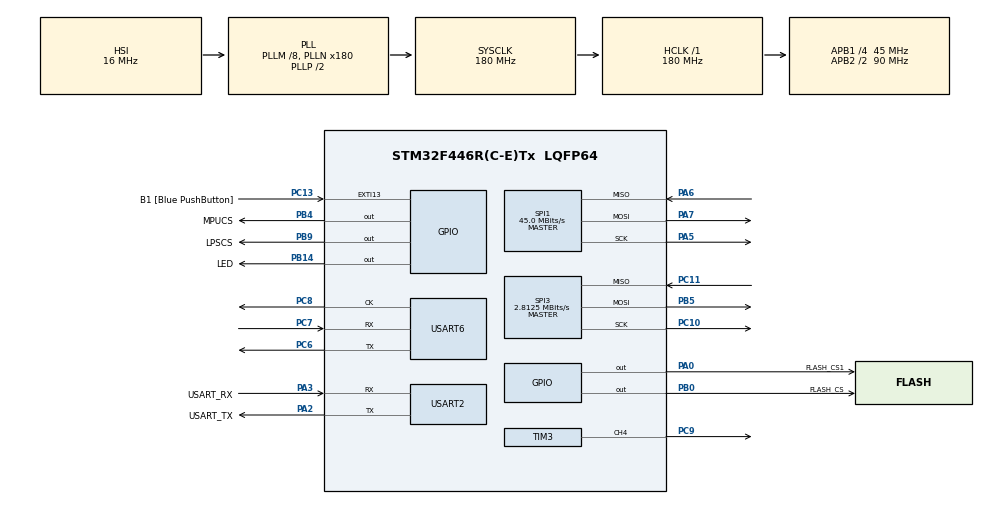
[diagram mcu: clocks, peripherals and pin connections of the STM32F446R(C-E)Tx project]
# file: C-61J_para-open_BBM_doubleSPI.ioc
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Mcu.Family=STM32F4
Mcu.Name=STM32F446R(C-E)Tx
Mcu.Package=LQFP64
NVIC.PriorityGroup=NVIC_PRIORITYGROUP_0
NVIC.TIM1_BRK_TIM9_IRQn=true\:0\:0\:false\:false\:true\:true\:true
NVIC.TIM1_CC_IRQn=true\:0\:0\:false\:false\:true\:true\:true
NVIC.TIM1_TRG_COM_TIM11_IRQn=true\:0\:0\:false\:false\:true\:true\:true
NVIC.TIM1_UP_TIM10_IRQn=true\:0\:0\:false\:false\:true\:true\:true
NVIC.TIM2_IRQn=true\:0\:0\:false\:false\:true\:true\:true
NVIC.TIM3_IRQn=true\:0\:0\:false\:false\:true\:true\:true
PA0-WKUP.GPIO_Label=FLASH_CS1
PA0-WKUP.Signal=GPIO_Output
PA13.GPIO_Label=TMS
PA13.Mode=Serial_Wire
PA13.Signal=SYS_JTMS-SWDIO
PA14.GPIO_Label=TCK
PA14.Mode=Serial_Wire
PA14.Signal=SYS_JTCK-SWCLK
PA2.GPIO_Label=USART_TX
PA2.Mode=Asynchronous
PA2.Signal=USART2_TX
PA3.GPIO_Label=USART_RX
PA3.Mode=Asynchronous
PA3.Signal=USART2_RX
PA5.Mode=Full_Duplex_Master
PA5.Signal=SPI1_SCK
PA6.Mode=Full_Duplex_Master
PA6.Signal=SPI1_MISO
PA7.Mode=Full_Duplex_Master
PA7.Signal=SPI1_MOSI
PB0.GPIO_Label=FLASH_CS
PB0.Signal=GPIO_Output
PB14.GPIO_Label=LED
PB14.Signal=GPIO_Output
PB3.GPIO_Label=SWO
PB3.Signal=SYS_JTDO-SWO
PB4.GPIO_Label=MPUCS
PB4.Signal=GPIO_Output
PB5.Mode=Full_Duplex_Master
PB5.Signal=SPI3_MOSI
PB9.GPIO_Label=LPSCS
PB9.Signal=GPIO_Output
PC10.Mode=Full_Duplex_Master
PC10.Signal=SPI3_SCK
PC11.Mode=Full_Duplex_Master
PC11.Signal=SPI3_MISO
PC13.GPIO_Label=B1 [Blue PushButton]
PC13.GPIO_ModeDefaultEXTI=GPIO_MODE_IT_FALLING
PC13.Signal=GPXTI13
PC14-OSC32_IN.Mode=LSE-External-Oscillator
PC14-OSC32_IN.Signal=RCC_OSC32_IN
PC15-OSC32_OUT.Mode=LSE-External-Oscillator
PC15-OSC32_OUT.Signal=RCC_OSC32_OUT
PC6.Mode=Synchronous
PC6.Signal=USART6_TX
PC7.Mode=Synchronous
PC7.Signal=USART6_RX
PC8.Mode=Synchronous
PC8.Signal=USART6_CK
PC9.Signal=S_TIM3_CH4
PH0-OSC_IN.Mode=HSE-External-Oscillator
PH0-OSC_IN.Signal=RCC_OSC_IN
PH1-OSC_OUT.Mode=HSE-External-Oscillator
PH1-OSC_OUT.Signal=RCC_OSC_OUT
ProjectManager.HeapSize=0x200
ProjectManager.StackSize=0x400
ProjectManager.TargetToolchain=STM32CubeIDE
RCC.48MHZClocksFreq_Value=84000000
RCC.AHBFreq_Value=180000000
RCC.APB1CLKDivider=RCC_HCLK_DIV4
RCC.APB1Freq_Value=45000000
RCC.APB1TimFreq_Value=90000000
RCC.APB2CLKDivider=RCC_HCLK_DIV2
RCC.APB2Freq_Value=90000000
RCC.APB2TimFreq_Value=180000000
RCC.CortexFreq_Value=180000000
RCC.FLatency-AdvancedSettings=FLASH_LATENCY_5
RCC.HCLKFreq_Value=180000000
RCC.HSE_VALUE=8000000
RCC.HSI_VALUE=16000000
RCC.PLLM=8
RCC.PLLN=180
RCC.SYSCLKFreq_VALUE=180000000
RCC.SYSCLKSource=RCC_SYSCLKSOURCE_PLLCLK
RCC.USBFreq_Value=180000000
RCC.VCOOutputFreq_Value=360000000
SH.S_TIM3_CH4.0=TIM3_CH4,PWM Generation4 CH4
SPI1.BaudRatePrescaler=SPI_BAUDRATEPRESCALER_2
SPI1.CalculateBaudRate=45.0 MBits/s
SPI1.Direction=SPI_DIRECTION_2LINES
SPI1.Mode=SPI_MODE_MASTER
SPI1.VirtualType=VM_MASTER
SPI3.BaudRatePrescaler=SPI_BAUDRATEPRESCALER_16
SPI3.CalculateBaudRate=2.8125 MBits/s
SPI3.Direction=SPI_DIRECTION_2LINES
SPI3.Mode=SPI_MODE_MASTER
SPI3.VirtualType=VM_MASTER
TIM1.Period=999
TIM1.Prescaler=1799
TIM2.Period=999
TIM2.Prescaler=89
TIM3.Channel-PWM\ Generation4\ CH4=TIM_CHANNEL_4
TIM3.Period=699
TIM3.Prescaler=3599
USART2.VirtualMode=VM_ASYNC
USART6.VirtualMode=VM_SYNC
VP_TIM1_VS_ClockSourceINT.Mode=Internal
VP_TIM2_VS_ClockSourceINT.Mode=Internal
VP_TIM3_VS_ClockSourceINT.Mode=Internal
board=NUCLEO-F446RE

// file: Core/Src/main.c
/* USER CODE BEGIN Header */
/**
 ******************************************************************************
 * @file           : main.c
 * @brief          : Main program body
 ******************************************************************************
 * @attention
 *
 * <h2><center>&copy; Copyright (c) 2021 STMicroelectronics.
 * All rights reserved.</center></h2>
 *
 * This software component is licensed by ST under BSD 3-Clause license,
 * the "License"; You may not use this file except in compliance with the
 * License. You may obtain a copy of the License at:
 *                        opensource.org/licenses/BSD-3-Clause
 *
 ******************************************************************************
 */
/* USER CODE END Header */
#include "main.h"

/* USER CODE BEGIN Includes */
#include "Sensors_Access_mcat4.h"
#include "uart_mcat2.h"
#include "SPIflash_mcat.h"
#include "math.h"
/* USER CODE END Includes */

/* USER CODE BEGIN PD */
#define ROCKETSTATUS_FLIGHTMODE_ON 0
#define ROCKETSTATUS_LIFTOFFED 1
#define ROCKETSTATUS_PARAOPEND 2
#define ROCKETSTATUS_NOFLIGHTMODE 3

#define MPUDATAFLASH 0
#define LPSDATAFLASH 1
/* USER CODE END PD */

SPI_HandleTypeDef hspi1;
SPI_HandleTypeDef hspi3;

TIM_HandleTypeDef htim1;
TIM_HandleTypeDef htim2;
TIM_HandleTypeDef htim3;

UART_HandleTypeDef huart2;
USART_HandleTypeDef husart6;

void SystemClock_Config(void);
static void MX_GPIO_Init(void);
static void MX_USART2_UART_Init(void);
static void MX_SPI1_Init(void);
static void MX_TIM1_Init(void);
static void MX_TIM2_Init(void);
static void MX_TIM3_Init(void);
static void MX_USART6_Init(void);
static void MX_SPI3_Init(void);

/* USER CODE BEGIN 0 */
uint32_t flag_1kHz = 0;
uint32_t flag_50Hz = 0;
uint32_t clock_1kHz = 0;

//******************LPS Lunch countAccOverTH and Detect Top Variable******************//
double sum_Pressure = 0., ave_Pressure = 0., old_Pressure = 0.;
uint8_t sum_P_counter = 0, over_P_count = 0;
//******************End LPS Lunch countAccOverTH and Detect Top Variable******************//

//******************Timer Setting******************/
void HAL_TIM_PeriodElapsedCallback(TIM_HandleTypeDef *htim)
{
  if (htim->Instance == htim2.Instance)
  {
    flag_1kHz++;
    clock_1kHz++;
  }
  if (htim->Instance == htim1.Instance)
  {
    flag_50Hz++;
  }
}
//******************End Timer Setting******************//

const uint32_t IntervalLaunchAndParaOpen = 11000;
uint8_t rocketStatus = ROCKETSTATUS_NOFLIGHTMODE; // 0~3
uint8_t MPUFlashBuff[256];
uint8_t CountMPUDataSetExistInBuff = 0;
uint8_t LPSFlashBuff[256];
uint8_t CountLPSDataSetExistInBuff = 0;
uint32_t MPUFlashLatestAddress = 0x00, LPSFlashLatestAddress = 0x00;
uint8_t isLaunchDetectedMessageSended = 0;
uint32_t LaunchDetectedTime = 0;
uint8_t LaunchDetectedType = 0;
uint32_t TopDetectedTime = 0;
uint8_t TopDetectedType = 0;

void logingParametersInit()
{
  CountMPUDataSetExistInBuff = 0;
  CountLPSDataSetExistInBuff = 0;
  MPUFlashLatestAddress = 0;
  LPSFlashLatestAddress = 0;
  isLaunchDetectedMessageSended = 0;
  LaunchDetectedTime = 0;
  LaunchDetectedType = 0; // 1...pressure 2...acc
  TopDetectedTime = 0;
  TopDetectedType = 0; // 1...pressure 2...time
}

void paraOpen()
{
  __HAL_TIM_SET_COMPARE(&htim3, TIM_CHANNEL_4, 90);
}

void paraClose()
{
  __HAL_TIM_SET_COMPARE(&htim3, TIM_CHANNEL_4, 45);
}

void paraServoCutoff()
{
	__HAL_TIM_SET_COMPARE(&htim3, TIM_CHANNEL_4, 0);
}

void detectLaunchByPressure(double Pressure_data)
{
  sum_Pressure += Pressure_data;
  sum_P_counter++;
  if (sum_P_counter >= 5)
  {
    old_Pressure = ave_Pressure;
    ave_Pressure = sum_Pressure / sum_P_counter;
    sum_Pressure = 0.;
    sum_P_counter = 0;
    if ((old_Pressure - ave_Pressure) > 0.5)
    { // change true = 10, experiment = 3
      over_P_count++;
    }
    else
    {
      over_P_count = 0;
    }
  }
  if (over_P_count >= 10)
  {
    rocketStatus = ROCKETSTATUS_LIFTOFFED;
    LaunchDetectedTime = clock_1kHz;
    LaunchDetectedType = 1;
    sum_Pressure = 0.;
    old_Pressure = 0.;
    sum_P_counter = 0;
    over_P_count = 0;
    HAL_GPIO_WritePin(LED_GPIO_Port, LED_Pin, SET);
  }
}

void detectTopByPressure(double Pressure_data)
{
  sum_Pressure += Pressure_data;
  sum_P_counter++;
  if (sum_P_counter >= 5)
  {
    old_Pressure = ave_Pressure;
    ave_Pressure = sum_Pressure / sum_P_counter;
    sum_Pressure = 0;
    sum_P_counter = 0;
    if (old_Pressure < ave_Pressure)
    {
      over_P_count++;
    }
    else
    {
      over_P_count = 0;
    }
  }
  if (over_P_count >= 10)
  {
    rocketStatus = ROCKETSTATUS_PARAOPEND;
    TopDetectedTime = clock_1kHz;
    TopDetectedType = 1;
    paraOpen();
    sum_Pressure = 0;
    sum_P_counter = 0;
    over_P_count = 0;
    HAL_GPIO_WritePin(LED_GPIO_Port, LED_Pin, SET);
  }
}
//******************End LPS Pressure Detect Top******************//

/* USER CODE END 0 */

int main(void)
{

  /* MCU Configuration--------------------------------------------------------*/

  /* Reset of all peripherals, Initializes the Flash interface and the Systick. */
  HAL_Init();

  /* Configure the system clock */
  SystemClock_Config();

  /* Initialize all configured peripherals */
  MX_GPIO_Init();
  MX_USART2_UART_Init();
  MX_SPI1_Init();
  MX_TIM1_Init();
  MX_TIM2_Init();
  MX_TIM3_Init();
  MX_USART6_Init();
  MX_SPI3_Init();
  /* USER CODE BEGIN 2 */

  // time setup
  uint32_t milisecondAfterLiftof = 0;

  // average20
  double average[20];
  int avrnum = 0;
  double Avr = 0.0; // average of (average[20])

  // take off countAccOverTH
  double value5[5] = {0.0, 0.0, 0.0, 0.0, 0.0}; // Avr * 5

  int countAccOverTH = 0;

  // MPU setup
  int16_t MPUMoldingData[6];
  uint8_t MPURecievedData[14];
  double ax, ay, az, gx, gy, gz, axyz;

  CS_Set(MPUDATAFLASH);
  CS_Set(LPSDATAFLASH);
  MPU_CS_High();
  LPS_CS_High();

  HAL_Delay(10);

  MPU_Initialization();

  // LPS setup
  double LPS_Pressure = 0;
  uint8_t LPS_data[3];
  LPS_WakeUp();
  uint16_t LPSLogPreScaler = 0;

  // timer setup

  // uart_putln("timer start",2);

  // PWM setup (timer 1)
  HAL_TIM_PWM_Start(&htim3, TIM_CHANNEL_4);
  __HAL_TIM_SET_COMPARE(&htim3, TIM_CHANNEL_4, 45);
  HAL_GPIO_WritePin(LED_GPIO_Port, LED_Pin, RESET);
  /* USER CODE END 2 */

  /* Infinite loop */
  while (1)
  {

    /* USER CODE BEGIN 3 */
    if (USART2->SR & USART_SR_RXNE)
    {
      char rec = uart_receive(2);
      if (rec == 'i')
      {
        if (MPU_WhoAmI() == 113 && LPS_WhoAmI() == 177)
        {
          uart_putln("i", 2);
        }
        else
        {
          uart_putln("o", 2);
        }
      }
      else if (rec == 'l')
      {
        logingParametersInit();
        uart_putln("l", 2);
        milisecondAfterLiftof = 0;
        sum_Pressure = 0;
        sum_P_counter = 0;
        over_P_count = 0;
        rocketStatus = ROCKETSTATUS_FLIGHTMODE_ON;
        HAL_GPIO_WritePin(LED_GPIO_Port, LED_Pin, RESET);
        HAL_TIM_Base_Start_IT(&htim1); // tim2:1kHz
        HAL_TIM_Base_Start_IT(&htim2);
      }
      else if (rec == 's')
      {
        uart_putln("s", 2);
        HAL_TIM_Base_Stop_IT(&htim1); // tim2:1kHz
        HAL_TIM_Base_Stop_IT(&htim2);
        rocketStatus = ROCKETSTATUS_NOFLIGHTMODE;
      }
      else if (rec == 'd')
      {
        flash_wren(MPUDATAFLASH); // allow writing
        flash_be(MPUDATAFLASH);
        while (flash_is_wip(MPUDATAFLASH))
        {
          // uart_puts(".",2);
          HAL_GPIO_WritePin(LED_GPIO_Port, LED_Pin, SET);
          HAL_Delay(100);
          HAL_GPIO_WritePin(LED_GPIO_Port, LED_Pin, RESET);
          HAL_Delay(100);
        }
        HAL_GPIO_WritePin(LED_GPIO_Port, LED_Pin, SET);
        HAL_Delay(1000);
        HAL_GPIO_WritePin(LED_GPIO_Port, LED_Pin, RESET);
        HAL_Delay(100);

        // erase flash 1
        flash_wren(LPSDATAFLASH); // allow writing
        flash_be(LPSDATAFLASH);
        while (flash_is_wip(LPSDATAFLASH))
        {
          // uart_puts(".",2);
          HAL_GPIO_WritePin(LED_GPIO_Port, LED_Pin, SET);
          HAL_Delay(100);
          HAL_GPIO_WritePin(LED_GPIO_Port, LED_Pin, RESET);
          HAL_Delay(100);
        }
        uart_putln("f", 2);
      }
      else if (rec == 'r')
      {
        uart_putln("mpu data read", 2);
        for (int index = 0; index < 65536; index++)
        {
          uint8_t readbf[256];
          flash_read(index * 256, readbf, 256, LPSDATAFLASH);
          data_debug_print(readbf, 256);
        }
        uart_putln("lps data read", 2);
        for (int index = 0; index < 65536; index++)
        {
          uint8_t readbf[256];
          flash_read(index * 256, readbf, 256, MPUDATAFLASH);
          data_debug_print(readbf, 256);
        }
      }
      else if (rec == 'e')
      {
        uart_putln("e", 2);
        paraOpen();
      }
      else if (rec == 'c')
      {
        uart_putln("c", 2);
        paraClose();
        HAL_Delay(2000);
        HAL_GPIO_WritePin(GPIOC, GPIO_PIN_9, RESET);
      }
    }

    if (flag_1kHz > 0)
    { // 1kHz,MPU & flash 0

      LPSLogPreScaler++;
      if (LPSLogPreScaler >= 20)
      {
        // read LPSdata
        LPS_WakeUp();
        LPS_Pressure = (double)LPS_RawandPressure(LPS_data);
        LPS_Pressure = LPS_Pressure * 100. / 4096.;

        // lps
        for (int index = 0; index < 3; index++)
        {
          LPSFlashBuff[16 * CountLPSDataSetExistInBuff + index] = LPS_data[index];
        }
        LPSFlashBuff[16 * CountLPSDataSetExistInBuff + 3] = (LaunchDetectedType << 4) + TopDetectedType;
        // launch detect data
        for (int index = 0; index < 4; index++)
        {
          LPSFlashBuff[16 * CountLPSDataSetExistInBuff + index + 4] = 0xFF & (LaunchDetectedTime >> (8 * index));
        }
        // top detected data
        for (int index = 0; index < 4; index++)
        {
          LPSFlashBuff[16 * CountLPSDataSetExistInBuff + index + 8] = 0xFF & (TopDetectedTime >> (8 * index));
        }
        // time
        for (int index = 0; index < 4; index++)
        {
          LPSFlashBuff[16 * CountLPSDataSetExistInBuff + index + 12] = 0xFF & (clock_1kHz >> (8 * index));
        }
        CountLPSDataSetExistInBuff++;
        if (CountLPSDataSetExistInBuff == 16)
        {
          flash_wren(LPSDATAFLASH);
          flash_pp(LPSFlashLatestAddress, LPSFlashBuff, 0x100, LPSDATAFLASH);
          LPSFlashLatestAddress += 0x100;
          CountLPSDataSetExistInBuff = 0;
        }

        // write LPSdata & time

        if (rocketStatus == ROCKETSTATUS_FLIGHTMODE_ON)
        {
          detectLaunchByPressure(LPS_Pressure);
        }
        else if (rocketStatus == ROCKETSTATUS_LIFTOFFED)
        {
          detectTopByPressure(LPS_Pressure);
        }
        LPSLogPreScaler = 0;
      }
      // MPU countAccOverTH
      MPU_6axis_Raw(MPURecievedData, MPUMoldingData);
      //			uart_puts("\tax:",2);
      //			uart_putint((int)MPUMoldingData[0],2);
      //			uart_puts("\tay:",2);
      //			uart_putint((int)MPUMoldingData[1],2);
      //			uart_puts("\taz:",2);
      //			uart_putintln((int)MPUMoldingData[2],2);

      // make mpu dataset
      for (int index = 0; index < 6; index++)
      {
        MPUFlashBuff[16 * CountMPUDataSetExistInBuff + index] = MPURecievedData[index];
      }
      for (int index = 8; index < 14; index++)
      {
        MPUFlashBuff[16 * CountMPUDataSetExistInBuff + index - 2] = MPURecievedData[index];
      }
      for (int index = 0; index < 4; index++)
      {
        MPUFlashBuff[16 * CountMPUDataSetExistInBuff + index + 12] = 0xFF & (clock_1kHz >> (8 * index));
      }
      CountMPUDataSetExistInBuff++;
      if (CountMPUDataSetExistInBuff == 16)
      {
        flash_wren(MPUDATAFLASH);
        flash_pp(MPUFlashLatestAddress, MPUFlashBuff, 0x100, 0);
        MPUFlashLatestAddress += 0x100;
        CountMPUDataSetExistInBuff = 0;
      }

      ax = (double)MPUMoldingData[0];
      ay = (double)MPUMoldingData[1];
      az = (double)MPUMoldingData[2];
      gx = (double)MPUMoldingData[3];
      gy = (double)MPUMoldingData[4];
      gz = (double)MPUMoldingData[5];

      ax = ax * 16. / 32767.;
      ay = ay * 16. / 32767.;
      az = az * 16. / 32767.;
      gx = gx * 16. / 32767.;
      gy = gy * 16. / 32767.;
      gz = gz * 16. / 32767.;

      axyz = ax * ax + ay * ay + az * az;

      // make average[20] and take off countAccOverTH

      //***********************************MPU Accel lunch**************************************//
      if (avrnum != 20)
      {
        average[avrnum] = axyz;
      }
      else
      {
        for (int a = 0; a < 20; a++)
        {
          Avr += average[a];
        }
        Avr = Avr / 20.0;

        // update value5
        for (int n = 3; n >= 0; n--)
        {
          value5[n + 1] = value5[n];
        }
        value5[0] = Avr;
        if (rocketStatus == ROCKETSTATUS_FLIGHTMODE_ON)
        {
          countAccOverTH = 0;
          for (int m = 0; m < 5; m++)
          {
            if (value5[m] > 4.0)
            {
              countAccOverTH++;
            }
          }
          if (countAccOverTH >= 5)
          { // countAccOverTH = 5 -> take off
            rocketStatus = ROCKETSTATUS_LIFTOFFED;
            LaunchDetectedTime = clock_1kHz;
            LaunchDetectedType = 2; // 1...pressure 2...acc
            HAL_GPIO_WritePin(LED_GPIO_Port, LED_Pin, SET);
          }
        }
        avrnum = 0;
        average[avrnum] = axyz;
      }
      avrnum++;
      //********************************End MPU Accel lunch*****************************************//

      if ((rocketStatus == ROCKETSTATUS_LIFTOFFED) && (milisecondAfterLiftof > IntervalLaunchAndParaOpen))
      {
        if (!isLaunchDetectedMessageSended)
        {
          uart_putc('t', 2);
          isLaunchDetectedMessageSended = 1;
        }
        TopDetectedTime = clock_1kHz;
        TopDetectedType = 2;
        paraOpen();
        rocketStatus = ROCKETSTATUS_PARAOPEND;
      }
      else if (rocketStatus == ROCKETSTATUS_LIFTOFFED)
      {
        milisecondAfterLiftof++;
      }

      if (MPUFlashLatestAddress == 65535)
      {
        HAL_TIM_Base_Stop_IT(&htim1); // tim2:1kHz
        HAL_TIM_Base_Stop_IT(&htim2);
        rocketStatus = ROCKETSTATUS_NOFLIGHTMODE;
      }

      flag_1kHz = 0;
    }
  }
  /* USER CODE END 3 */
}

void SystemClock_Config(void)
{
  RCC_OscInitTypeDef RCC_OscInitStruct = {0};
  RCC_ClkInitTypeDef RCC_ClkInitStruct = {0};

  /** Configure the main internal regulator output voltage
   */
  __HAL_RCC_PWR_CLK_ENABLE();
  __HAL_PWR_VOLTAGESCALING_CONFIG(PWR_REGULATOR_VOLTAGE_SCALE1);
  /** Initializes the RCC Oscillators according to the specified parameters
   * in the RCC_OscInitTypeDef structure.
   */
  RCC_OscInitStruct.OscillatorType = RCC_OSCILLATORTYPE_HSI;
  RCC_OscInitStruct.HSIState = RCC_HSI_ON;
  RCC_OscInitStruct.HSICalibrationValue = RCC_HSICALIBRATION_DEFAULT;
  RCC_OscInitStruct.PLL.PLLState = RCC_PLL_ON;
  RCC_OscInitStruct.PLL.PLLSource = RCC_PLLSOURCE_HSI;
  RCC_OscInitStruct.PLL.PLLM = 8;
  RCC_OscInitStruct.PLL.PLLN = 180;
  RCC_OscInitStruct.PLL.PLLP = RCC_PLLP_DIV2;
  RCC_OscInitStruct.PLL.PLLQ = 2;
  RCC_OscInitStruct.PLL.PLLR = 2;
  if (HAL_RCC_OscConfig(&RCC_OscInitStruct) != HAL_OK)
  {
    Error_Handler();
  }
  /** Activate the Over-Drive mode
   */
  if (HAL_PWREx_EnableOverDrive() != HAL_OK)
  {
    Error_Handler();
  }
  /** Initializes the CPU, AHB and APB buses clocks
   */
  RCC_ClkInitStruct.ClockType = RCC_CLOCKTYPE_HCLK | RCC_CLOCKTYPE_SYSCLK | RCC_CLOCKTYPE_PCLK1 | RCC_CLOCKTYPE_PCLK2;
  RCC_ClkInitStruct.SYSCLKSource = RCC_SYSCLKSOURCE_PLLCLK;
  RCC_ClkInitStruct.AHBCLKDivider = RCC_SYSCLK_DIV1;
  RCC_ClkInitStruct.APB1CLKDivider = RCC_HCLK_DIV4;
  RCC_ClkInitStruct.APB2CLKDivider = RCC_HCLK_DIV2;

  if (HAL_RCC_ClockConfig(&RCC_ClkInitStruct, FLASH_LATENCY_5) != HAL_OK)
  {
    Error_Handler();
  }
}

static void MX_SPI1_Init(void)
{

  /* SPI1 parameter configuration*/
  hspi1.Instance = SPI1;
  hspi1.Init.Mode = SPI_MODE_MASTER;
  hspi1.Init.Direction = SPI_DIRECTION_2LINES;
  hspi1.Init.DataSize = SPI_DATASIZE_8BIT;
  hspi1.Init.CLKPolarity = SPI_POLARITY_LOW;
  hspi1.Init.CLKPhase = SPI_PHASE_1EDGE;
  hspi1.Init.NSS = SPI_NSS_SOFT;
  hspi1.Init.BaudRatePrescaler = SPI_BAUDRATEPRESCALER_2;
  hspi1.Init.FirstBit = SPI_FIRSTBIT_MSB;
  hspi1.Init.TIMode = SPI_TIMODE_DISABLE;
  hspi1.Init.CRCCalculation = SPI_CRCCALCULATION_DISABLE;
  hspi1.Init.CRCPolynomial = 10;
  if (HAL_SPI_Init(&hspi1) != HAL_OK)
  {
    Error_Handler();
  }
}

static void MX_SPI3_Init(void)
{

  /* SPI3 parameter configuration*/
  hspi3.Instance = SPI3;
  hspi3.Init.Mode = SPI_MODE_MASTER;
  hspi3.Init.Direction = SPI_DIRECTION_2LINES;
  hspi3.Init.DataSize = SPI_DATASIZE_8BIT;
  hspi3.Init.CLKPolarity = SPI_POLARITY_LOW;
  hspi3.Init.CLKPhase = SPI_PHASE_1EDGE;
  hspi3.Init.NSS = SPI_NSS_SOFT;
  hspi3.Init.BaudRatePrescaler = SPI_BAUDRATEPRESCALER_16;
  hspi3.Init.FirstBit = SPI_FIRSTBIT_MSB;
  hspi3.Init.TIMode = SPI_TIMODE_DISABLE;
  hspi3.Init.CRCCalculation = SPI_CRCCALCULATION_DISABLE;
  hspi3.Init.CRCPolynomial = 10;
  if (HAL_SPI_Init(&hspi3) != HAL_OK)
  {
    Error_Handler();
  }
}

static void MX_TIM1_Init(void)
{

  TIM_ClockConfigTypeDef sClockSourceConfig = {0};
  TIM_MasterConfigTypeDef sMasterConfig = {0};

  htim1.Instance = TIM1;
  htim1.Init.Prescaler = 1799;
  htim1.Init.CounterMode = TIM_COUNTERMODE_UP;
  htim1.Init.Period = 999;
  htim1.Init.ClockDivision = TIM_CLOCKDIVISION_DIV1;
  htim1.Init.RepetitionCounter = 0;
  htim1.Init.AutoReloadPreload = TIM_AUTORELOAD_PRELOAD_DISABLE;
  if (HAL_TIM_Base_Init(&htim1) != HAL_OK)
  {
    Error_Handler();
  }
  sClockSourceConfig.ClockSource = TIM_CLOCKSOURCE_INTERNAL;
  if (HAL_TIM_ConfigClockSource(&htim1, &sClockSourceConfig) != HAL_OK)
  {
    Error_Handler();
  }
  sMasterConfig.MasterOutputTrigger = TIM_TRGO_RESET;
  sMasterConfig.MasterSlaveMode = TIM_MASTERSLAVEMODE_DISABLE;
  if (HAL_TIMEx_MasterConfigSynchronization(&htim1, &sMasterConfig) != HAL_OK)
  {
    Error_Handler();
  }
}

static void MX_TIM2_Init(void)
{

  TIM_ClockConfigTypeDef sClockSourceConfig = {0};
  TIM_MasterConfigTypeDef sMasterConfig = {0};

  htim2.Instance = TIM2;
  htim2.Init.Prescaler = 89;
  htim2.Init.CounterMode = TIM_COUNTERMODE_UP;
  htim2.Init.Period = 999;
  htim2.Init.ClockDivision = TIM_CLOCKDIVISION_DIV1;
  htim2.Init.AutoReloadPreload = TIM_AUTORELOAD_PRELOAD_DISABLE;
  if (HAL_TIM_Base_Init(&htim2) != HAL_OK)
  {
    Error_Handler();
  }
  sClockSourceConfig.ClockSource = TIM_CLOCKSOURCE_INTERNAL;
  if (HAL_TIM_ConfigClockSource(&htim2, &sClockSourceConfig) != HAL_OK)
  {
    Error_Handler();
  }
  sMasterConfig.MasterOutputTrigger = TIM_TRGO_RESET;
  sMasterConfig.MasterSlaveMode = TIM_MASTERSLAVEMODE_DISABLE;
  if (HAL_TIMEx_MasterConfigSynchronization(&htim2, &sMasterConfig) != HAL_OK)
  {
    Error_Handler();
  }
}

static void MX_TIM3_Init(void)
{

  TIM_ClockConfigTypeDef sClockSourceConfig = {0};
  TIM_MasterConfigTypeDef sMasterConfig = {0};
  TIM_OC_InitTypeDef sConfigOC = {0};

  htim3.Instance = TIM3;
  htim3.Init.Prescaler = 3599;
  htim3.Init.CounterMode = TIM_COUNTERMODE_UP;
  htim3.Init.Period = 699;
  htim3.Init.ClockDivision = TIM_CLOCKDIVISION_DIV1;
  htim3.Init.AutoReloadPreload = TIM_AUTORELOAD_PRELOAD_DISABLE;
  if (HAL_TIM_Base_Init(&htim3) != HAL_OK)
  {
    Error_Handler();
  }
  sClockSourceConfig.ClockSource = TIM_CLOCKSOURCE_INTERNAL;
  if (HAL_TIM_ConfigClockSource(&htim3, &sClockSourceConfig) != HAL_OK)
  {
    Error_Handler();
  }
  if (HAL_TIM_PWM_Init(&htim3) != HAL_OK)
  {
    Error_Handler();
  }
  sMasterConfig.MasterOutputTrigger = TIM_TRGO_RESET;
  sMasterConfig.MasterSlaveMode = TIM_MASTERSLAVEMODE_DISABLE;
  if (HAL_TIMEx_MasterConfigSynchronization(&htim3, &sMasterConfig) != HAL_OK)
  {
    Error_Handler();
  }
  sConfigOC.OCMode = TIM_OCMODE_PWM1;
  sConfigOC.Pulse = 0;
  sConfigOC.OCPolarity = TIM_OCPOLARITY_HIGH;
  sConfigOC.OCFastMode = TIM_OCFAST_DISABLE;
  if (HAL_TIM_PWM_ConfigChannel(&htim3, &sConfigOC, TIM_CHANNEL_4) != HAL_OK)
  {
    Error_Handler();
  }
  HAL_TIM_MspPostInit(&htim3);
}

static void MX_USART2_UART_Init(void)
{

  huart2.Instance = USART2;
  huart2.Init.BaudRate = 115200;
  huart2.Init.WordLength = UART_WORDLENGTH_8B;
  huart2.Init.StopBits = UART_STOPBITS_1;
  huart2.Init.Parity = UART_PARITY_NONE;
  huart2.Init.Mode = UART_MODE_TX_RX;
  huart2.Init.HwFlowCtl = UART_HWCONTROL_NONE;
  huart2.Init.OverSampling = UART_OVERSAMPLING_16;
  if (HAL_UART_Init(&huart2) != HAL_OK)
  {
    Error_Handler();
  }
}

static void MX_USART6_Init(void)
{

  husart6.Instance = USART6;
  husart6.Init.BaudRate = 115200;
  husart6.Init.WordLength = USART_WORDLENGTH_8B;
  husart6.Init.StopBits = USART_STOPBITS_1;
  husart6.Init.Parity = USART_PARITY_NONE;
  husart6.Init.Mode = USART_MODE_TX_RX;
  husart6.Init.CLKPolarity = USART_POLARITY_LOW;
  husart6.Init.CLKPhase = USART_PHASE_1EDGE;
  husart6.Init.CLKLastBit = USART_LASTBIT_DISABLE;
  if (HAL_USART_Init(&husart6) != HAL_OK)
  {
    Error_Handler();
  }
}

static void MX_GPIO_Init(void)
{
  GPIO_InitTypeDef GPIO_InitStruct = {0};

  /* GPIO Ports Clock Enable */
  __HAL_RCC_GPIOC_CLK_ENABLE();
  __HAL_RCC_GPIOH_CLK_ENABLE();
  __HAL_RCC_GPIOA_CLK_ENABLE();
  __HAL_RCC_GPIOB_CLK_ENABLE();

  /*Configure GPIO pin Output Level */
  HAL_GPIO_WritePin(FLASH_CS1_GPIO_Port, FLASH_CS1_Pin, GPIO_PIN_RESET);

  /*Configure GPIO pin Output Level */
  HAL_GPIO_WritePin(GPIOB, FLASH_CS_Pin | LED_Pin | MPUCS_Pin | LPSCS_Pin, GPIO_PIN_RESET);

  /*Configure GPIO pin : B1_Pin */
  GPIO_InitStruct.Pin = B1_Pin;
  GPIO_InitStruct.Mode = GPIO_MODE_IT_FALLING;
  GPIO_InitStruct.Pull = GPIO_NOPULL;
  HAL_GPIO_Init(B1_GPIO_Port, &GPIO_InitStruct);

  /*Configure GPIO pin : FLASH_CS1_Pin */
  GPIO_InitStruct.Pin = FLASH_CS1_Pin;
  GPIO_InitStruct.Mode = GPIO_MODE_OUTPUT_PP;
  GPIO_InitStruct.Pull = GPIO_NOPULL;
  GPIO_InitStruct.Speed = GPIO_SPEED_FREQ_LOW;
  HAL_GPIO_Init(FLASH_CS1_GPIO_Port, &GPIO_InitStruct);

  /*Configure GPIO pins : FLASH_CS_Pin LED_Pin MPUCS_Pin LPSCS_Pin */
  GPIO_InitStruct.Pin = FLASH_CS_Pin | LED_Pin | MPUCS_Pin | LPSCS_Pin;
  GPIO_InitStruct.Mode = GPIO_MODE_OUTPUT_PP;
  GPIO_InitStruct.Pull = GPIO_NOPULL;
  GPIO_InitStruct.Speed = GPIO_SPEED_FREQ_LOW;
  HAL_GPIO_Init(GPIOB, &GPIO_InitStruct);
}

void Error_Handler(void)
{
  __disable_irq();
  while (1)
  {
  }
}

/************************ (C) COPYRIGHT STMicroelectronics *****END OF FILE****/
